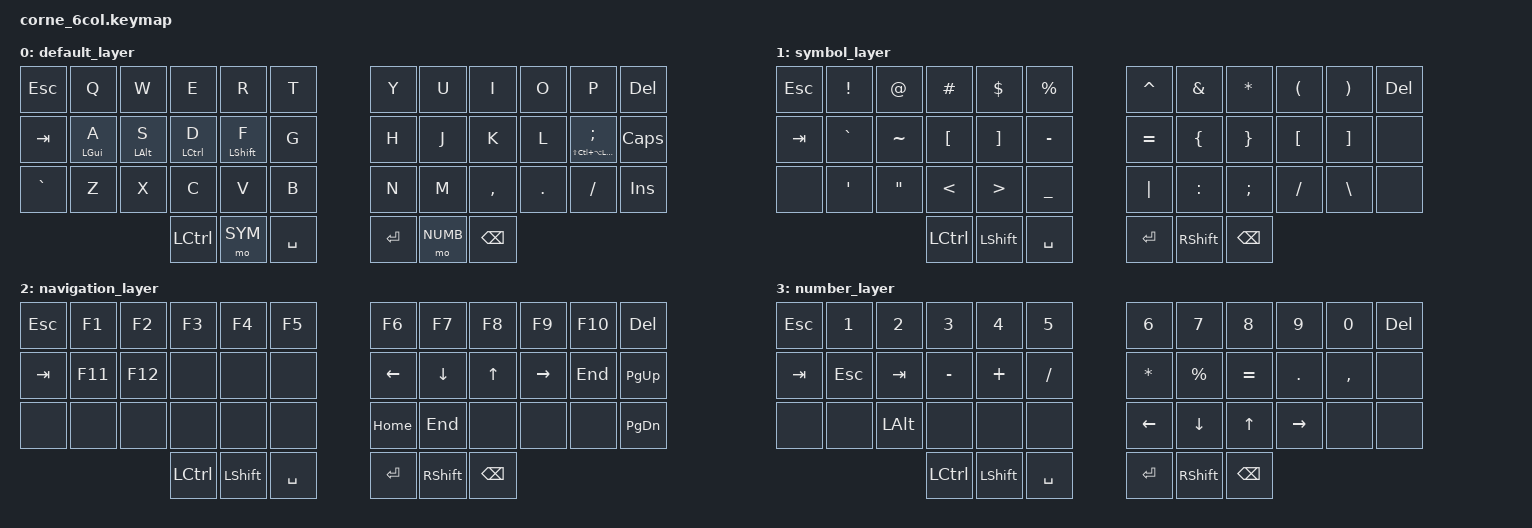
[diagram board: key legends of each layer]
/*
* Copyright (c) 2020 The ZMK Contributors
*
* SPDX-License-Identifier: MIT
* Custom keymap for 42 key 6 col layout by Raymond Ware
*/

/*                              42 KEY MATRIX / LAYOUT MAPPING

╭────────────────────────┬────────────────────────╮ ╭─────────────────────────┬─────────────────────────╮
│  0   1   2   3   4   5 │  6   7   8   9  10  11 │ │ LT5 LT4 LT3 LT2 LT1 LT0 │ RT0 RT1 RT2 RT3 RT4 RT5 │
│ 12  13  14  15  16  17 │ 18  19  20  21  22  23 │ │ LM5 LM4 LM3 LM2 LM1 LM0 │ RM0 RM1 RM2 RM3 RM4 RM5 │
│ 24  25  26  27  28  29 │ 30  31  32  33  34  35 │ │ LB5 LB4 LB3 LB2 LB1 LB0 │ RB0 RB1 RB2 RB3 RB4 RB5 │
╰───────────╮ 36  37  38 │ 39  40  41 ╭───────────╯ ╰───────────╮ LH2 LH1 LH0 │ RH0 RH1 RH2 ╭───────────╯
            ╰────────────┴────────────╯   @raymondware  ╰─────────────┴─────────────╯             */

#include <behaviors.dtsi>
#include <dt-bindings/zmk/keys.h>
#include <dt-bindings/zmk/bt.h>
#include <dt-bindings/zmk/outputs.h>

// Layer aliases
#define DEF 0
#define SYM 1
#define NAV 2
#define NUMB 3

#define LT0  5  // left-top row
#define LT1  4
#define LT2  3
#define LT3  2
#define LT4  1
#define LT5  0

#define RT0  6  // right-top row
#define RT1  7
#define RT2  8
#define RT3  9
#define RT4 10
#define RT5 11

#define LM0 17  // left-middle row
#define LM1 16
#define LM2 15
#define LM3 14
#define LM4 13
#define LM5 12

#define RM0 18  // right-middle row
#define RM1 19
#define RM2 20
#define RM3 21
#define RM4 22
#define RM5 23

#define LB0 29  // left-bottom row
#define LB1 28
#define LB2 27
#define LB3 26
#define LB4 25
#define LB5 24

#define RB0 30  // right-bottom row
#define RB1 31
#define RB2 32
#define RB3 33
#define RB4 34
#define RB5 35

#define LH0 38  // left thumb keys
#define LH1 37
#define LH2 36

#define RH0 39  // right thumb keys
#define RH1 40
#define RH2 41

#define KEYS_L LT0 LT1 LT2 LT3 LT4 LT5 LM0 LM1 LM2 LM3 LM4 LM5 LB0 LB1 LB2 LB3 LB4 LB5  // left-hand keys
#define KEYS_R RT0 RT1 RT2 RT3 RT4 RT5 RM0 RM1 RM2 RM3 RM4 RM5 RB0 RB1 RB2 RB3 RB4 RB5  // right-hand keys
#define THUMBS LH2 LH1 LH0 RH0 RH1 RH2                                                  // thumb keys

&mt {
  tapping-term = <400>;
};

// Root devicetree node start
/ {

  hm: homerow_mods {
    compatible = "zmk,behavior-hold-tap";
    label = "HOMEROW_MODS";
    #binding-cells = <2>;
    tapping-term-ms = <400>;
    quick-tap-ms = <0>;
    flavor = "tap-preferred";
    bindings = <&kp>, <&kp>;
  };

  macros {
    vim_format_doc: vim_format_doc {
      compatible = "zmk,behavior-macro";
      #binding-cells = <0>;
      bindings = <&macro_press &kp LCTRL>,
        <&macro_tap &kp C>,
          <&macro_release &kp LCTRL>,
            <&macro_tap &kp F>;
    };
  };

  combos {

    compatible = "zmk,combos";

    // Keep useful combos but note that ESC and TAB now have dedicated keys

    combo_lshift_sticky {
      timeout-ms = <50>;
      key-positions = <LM5 LM4>;
      bindings = <&sk LSHIFT>;
    };

    combo_rshift_sticky {
      timeout-ms = <50>;
      key-positions = <RM5 RM4>;
      bindings = <&sk RSHIFT>;
    };

    combo_lctrl {
      timeout-ms = <50>;
      key-positions = <LB5 LB4>;
      bindings = <&kp LCTRL>;
    };

    combo_rctrl {
      timeout-ms = <50>;
      key-positions = <RB5 RB4>;
      bindings = <&kp RCTRL>;
    };

    combo_lalt {
      timeout-ms = <50>;
      key-positions = <LB4 LB3>;
      bindings = <&kp LALT>;
    };

    combo_ralt {
      timeout-ms = <50>;
      key-positions = <RB4 RB3>;
      bindings = <&kp RALT>;
    };

    combo_lgui {
      timeout-ms = <50>;
      key-positions = <LM5 LB5>;
      bindings = <&kp GUI>;
    };

    combo_rbspc {
      timeout-ms = <50>;
      key-positions = <RT5 RT4>;
      bindings = <&kp BACKSPACE>;
    };

    // toggle layers

    combo_def {
      timeout-ms = <50>;
      key-positions = <RM0 RM1>;
      bindings = <&to DEF>;
    };

    combo_nav {
      timeout-ms = <50>;
      key-positions = <RB1 RB2>;
      bindings = <&to NAV>;
    };

    combo_sym {
      timeout-ms = <50>;
      key-positions = <RB0 RB1>;
      bindings = <&to SYM>;
    };

    combo_num {
      timeout-ms = <50>;
      key-positions = <RB2 RB3>;
      bindings = <&to NUMB>;
    };

    // vim combos
    combo_first_non_blank {
      timeout-ms = <50>;
      key-positions = <RT0 RT1>;
      bindings = <&kp CARET>;
    };

    combo_last_non_blank {
      timeout-ms = <50>;
      key-positions = <RT1 RT2>;
      bindings = <&kp DOLLAR>;
    };

    combo_format_doc {
      timeout-ms = <50>;
      key-positions = <RT2 RT3>;
      bindings = <&vim_format_doc>;
    };

    combo_comment_toggle {
      timeout-ms = <50>;
      key-positions = <RT3 RT4>;
      bindings = <&kp G &kp C &kp C>;
    };

    combo_gui {
      timeout-ms = <50>;
      key-positions = <LH1 RH1>;
      bindings = <&kp LGUI>;
    };
  };

  keymap {
    compatible = "zmk,keymap";

    default_layer {
      // ╭─────────────┬─────────────┬─────────────┬─────────────┬─────────────┬─────────────╮   ╭─────────────┬─────────────┬─────────────┬─────────────┬─────────────┬─────────────╮
      // │     ESC     │     Q       │     W       │     E       │     R       │     T       │   │     Y       │     U       │     I       │     O       │     P       │    DEL      │
      // ├─────────────┼─────────────┼─────────────┼─────────────┼─────────────┼─────────────┤   ├─────────────┼─────────────┼─────────────┼─────────────┼─────────────┼─────────────┤
      // │     TAB     │     A       │     S       │     D       │     F       │     G       │   │     H       │     J       │     K       │     L       │    ;        │  CAPS LOCK  │
      // ├─────────────┼─────────────┼─────────────┼─────────────┼─────────────┼─────────────┤   ├─────────────┼─────────────┼─────────────┼─────────────┼─────────────┼─────────────┤
      // │   GRAVE `   │     Z       │     X       │     C       │     V       │     B       │   │     N       │     M       │    ,        │    .        │    /        │   INSERT    │
      // ╰─────────────┴─────────────┴─────────────┼─────────────┼─────────────┼─────────────┤   ├─────────────┼─────────────┼─────────────┼─────────────┴─────────────┴─────────────╯
      //                                            │    CTL      │   MO(SYM)   │    Space    │   │    Enter    │   MO(NUMB)  │   Bksp      │
      //                                            ╰─────────────┴─────────────┴─────────────╯   ╰─────────────┴─────────────┴─────────────╯

      // Key Bindings Configuration
      bindings = <
        &kp ESC      &kp Q        &kp W        &kp E        &kp R        &kp T        &kp Y        &kp U        &kp I        &kp O        &kp P        &kp DEL
        &kp TAB      &hm LGUI A   &hm LALT S   &hm LCTRL D  &hm LSHIFT F &kp G        &kp H        &kp J        &kp K        &kp L        &mt LS(LC(LA(LGUI))) SEMICOLON   &kp CAPS
        &kp GRAVE    &kp Z        &kp X        &kp C        &kp V        &kp B        &kp N        &kp M        &kp COMMA    &kp DOT      &kp SLASH    &kp INS
                                               &kp LCTRL    &mo SYM      &kp SPACE    &kp ENTER    &mo NUMB     &kp BACKSPACE
      >;
    };

    // Symbol Layer
    // ╭─────────────┬─────────────┬─────────────┬─────────────┬─────────────┬─────────────╮   ╭─────────────┬─────────────┬─────────────┬─────────────┬─────────────┬─────────────╮
    // │    ESC      │     !       │     @       │     #       │     $       │     %       │   │     ^       │     &       │     *       │     (       │     )       │    DEL      │
    // ├─────────────┼─────────────┼─────────────┼─────────────┼─────────────┼─────────────┤   ├─────────────┼─────────────┼─────────────┼─────────────┼─────────────┼─────────────┤
    // │    TAB      │     `       │     ~       │     [       │     ]       │     -       │   │     =       │     {       │     }       │     [       │    ]        │    none     │
    // ├─────────────┼─────────────┼─────────────┼─────────────┼─────────────┼─────────────┤   ├─────────────┼─────────────┼─────────────┼─────────────┼─────────────┼─────────────┤
    // │    none     │     '       │     "       │     <       │     >       │     _       │   │     |       │     :       │     ;       │     /       │    \        │    none     │
    // ╰─────────────┴─────────────┴─────────────┼─────────────┼─────────────┼─────────────┤   ├─────────────┼─────────────┼─────────────┼─────────────┴─────────────┴─────────────╯
    //                                            │    CTL      │    SHIFT    │    Space    │   │    Enter    │    SHIFT    │   Bksp      │
    //                                            ╰─────────────┴─────────────┴─────────────╯   ╰─────────────┴─────────────┴─────────────╯


    symbol_layer {
      bindings = <
        &kp ESC        &kp EXCL       &kp AT       &kp HASH      &kp DOLLAR    &kp PERCENT  &kp CARET    &kp AMPS      &kp ASTERISK &kp LPAR     &kp RPAR     &kp DEL
        &kp TAB        &kp GRAVE      &kp TILDE    &kp LBKT      &kp RBKT      &kp MINUS    &kp EQUAL    &kp LBRC      &kp RBRC     &kp LBKT     &kp RBKT     &none
        &none          &kp SQT        &kp DQT      &kp LT        &kp GT        &kp UNDER    &kp PIPE     &kp COLON     &kp SEMI     &kp SLASH    &kp BACKSLASH &none
                                                   &kp LCTRL     &kp LSHIFT    &kp SPACE    &kp ENTER    &kp RSHIFT    &kp BKSP
      >;
    };


    // Navigation Layer
    // ╭─────────────┬─────────────┬─────────────┬─────────────┬─────────────┬─────────────╮   ╭─────────────┬─────────────┬─────────────┬─────────────┬─────────────┬─────────────╮
    // │    ESC      │     F1      │     F2      │     F3      │     F4      │     F5      │   │     F6      │     F7      │     F8      │     F9      │     F10     │    DEL      │
    // ├─────────────┼─────────────┼─────────────┼─────────────┼─────────────┼─────────────┤   ├─────────────┼─────────────┼─────────────┼─────────────┼─────────────┼─────────────┤
    // │    TAB      │     F11     │     F12     │    none     │    none     │    none     │   │    LEFT     │    DOWN     │     UP      │    RIGHT    │    none     │  PG_UP      │
    // ├─────────────┼─────────────┼─────────────┼─────────────┼─────────────┼─────────────┤   ├─────────────┼─────────────┼─────────────┼─────────────┼─────────────┼─────────────┤
    // │    none     │    none     │    none     │    none     │    none     │    none     │   │    HOME     │    END      │    none     │    none     │    none     │  PG_DN      │
    // ╰─────────────┴─────────────┴─────────────┼─────────────┼─────────────┼─────────────┤   ├─────────────┼─────────────┼─────────────┼─────────────┴─────────────┴─────────────╯
    //                                            │    LCTRL    │   LSHIFT    │    Space    │   │    Enter    │   RSHIFT    │   Bksp      │
    //                                            ╰─────────────┴─────────────┴─────────────╯   ╰─────────────┴─────────────┴─────────────╯


    navigation_layer {
      bindings = <
        &kp ESC       &kp F1        &kp F2       &kp F3        &kp F4        &kp F5        &kp F6       &kp F7       &kp F8       &kp F9       &kp F10      &kp DEL
        &kp TAB       &kp F11       &kp F12      &none         &none         &none         &kp LEFT     &kp DOWN     &kp UP       &kp RIGHT    &kp END      &kp PG_UP
        &none         &none         &none        &none         &none         &none         &kp HOME     &kp END      &none        &none        &none        &kp PG_DN
                                                 &kp LCTRL     &kp LSHIFT    &kp SPACE     &kp ENTER    &kp RSHIFT   &kp BKSP
      >;
    };

    // Number Layer
    // ╭─────────────┬─────────────┬─────────────┬─────────────┬─────────────┬─────────────╮   ╭─────────────┬─────────────┬─────────────┬─────────────┬─────────────┬─────────────╮
    // │    ESC      │     1       │     2       │     3       │     4       │     5       │   │     6       │     7       │     8       │     9       │     0       │    DEL      │
    // ├─────────────┼─────────────┼─────────────┼─────────────┼─────────────┼─────────────┤   ├─────────────┼─────────────┼─────────────┼─────────────┼─────────────┼─────────────┤
    // │    TAB      │    ESC      │    TAB      │   MINUS     │  PLUS       │   SLASH     │   │   ASTERISK  │   PERCENT   │   EQUALS    │    DOT      │   COMMA     │    none     │
    // ├─────────────┼─────────────┼─────────────┼─────────────┼─────────────┼─────────────┤   ├─────────────┼─────────────┼─────────────┼─────────────┼─────────────┼─────────────┤
    // │    none     │    none     │    LALT     │    none     │    none     │    none     │   │    LEFT     │    DOWN     │     UP      │    RIGHT    │    none     │    none     │
    // ╰─────────────┴─────────────┴─────────────┼─────────────┼─────────────┼─────────────┤   ├─────────────┼─────────────┼─────────────┼─────────────┴─────────────┴─────────────╯
    //                                            │    LCTRL    │   LSHIFT    │    Space    │   │    Enter    │   RSHIFT    │   Bksp      │
    //                                            ╰─────────────┴─────────────┴─────────────╯   ╰─────────────┴─────────────┴─────────────╯

    number_layer {
      bindings = <
        &kp ESC       &kp N1        &kp N2       &kp N3        &kp N4        &kp N5        &kp N6       &kp N7       &kp N8       &kp N9       &kp N0       &kp DEL
        &kp TAB       &kp ESC       &kp TAB      &kp MINUS     &kp PLUS      &kp SLASH     &kp ASTERISK &kp PERCENT  &kp EQUAL    &kp DOT      &kp COMMA    &none
        &none         &none         &kp LALT     &none         &none         &none         &kp LEFT     &kp DOWN     &kp UP       &kp RIGHT    &none        &none
                                                 &kp LCTRL     &kp LSHIFT    &kp SPACE     &kp ENTER    &kp RSHIFT   &kp BKSP
      >;
    };
  };


};
// Root devicetree node end
